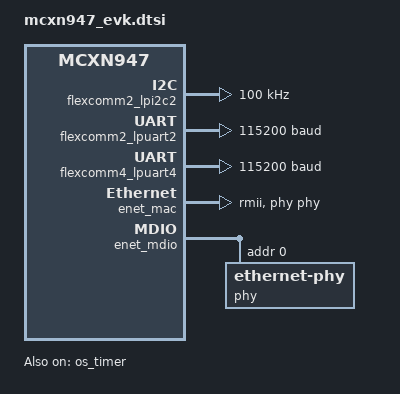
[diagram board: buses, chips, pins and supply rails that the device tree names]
/*
 * Copyright 2024 NXP
 * Copyright 2024 Open Pixel Systems
 *
 * SPDX-License-Identifier: Apache-2.0
 */

#include "mcxn947_evk-pinctrl.dtsi"

/ {
	aliases{
		led0 = &red_led;
		led1 = &green_led;
		led2 = &blue_led;
	};

	leds {
		compatible = "gpio-leds";
		green_led: led_1 {
			gpios = <&gpio3 2 GPIO_ACTIVE_LOW>;
			label = "Green LED";
			status = "disabled";
		};
		blue_led: led_2 {
			gpios = <&gpio3 3 GPIO_ACTIVE_LOW>;
			label = "Blue LED";
			status = "disabled";
		};
		red_led: led_3 {
			gpios = <&gpio3 4 GPIO_ACTIVE_LOW>;
			label = "Red LED";
			status = "disabled";
		};
	};
};

&flexcomm1_lpspi1 {
	pinctrl-0 = <&pinmux_flexcomm1_lpspi>;
	pinctrl-names = "default";
};

&flexcomm2_lpi2c2 {
	pinctrl-0 = <&pinmux_flexcomm2_lpi2c>;
	pinctrl-names = "default";
	clock-frequency = <I2C_BITRATE_STANDARD>;
};

&flexcomm2_lpuart2 {
	current-speed = <115200>;
	pinctrl-0 = <&pinmux_flexcomm2_lpuart>;
	pinctrl-names = "default";
};

&flexcomm4_lpuart4 {
	current-speed = <115200>;
	pinctrl-0 = <&pinmux_flexcomm4_lpuart>;
	pinctrl-names = "default";
};

/*
 * MCXN947 board uses OS timer as the kernel timer
 * In case we need to switch to SYSTICK timer, then
 * replace &os_timer with &systick
 */
&os_timer {
	status = "okay";
};

&flash {
	partitions {
		compatible = "fixed-partitions";
		#address-cells = <1>;
		#size-cells = <1>;

		boot_partition: partition@0 {
			label = "mcuboot";
			reg = <0x00000000 DT_SIZE_K(64)>;
		};
		/* Note slot 0 has one additional sector,
		 * this is intended for use with the swap move algorithm
		 */
		slot0_partition: partition@10000 {
			label = "image-0";
			reg = <0x00010000 DT_SIZE_K(992)>;
		};
		slot1_partition: partition@100000 {
			label = "image-1";
			reg = <0x00108000 DT_SIZE_K(984)>;
		};
		/* storage_partition is placed in WINBOND flash memory*/
	};
};

&enet {
	pinctrl-0 = <&pinmux_enet_qos>;
	pinctrl-names = "default";
};

&enet_mac {
	phy-connection-type = "rmii";
	zephyr,random-mac-address;
	phy-handle = <&phy>;
};

&enet_mdio {
	phy: ethernet-phy@0 {
		compatible = "ethernet-phy";
		reg = <0>;
		status = "okay";
	};
};
